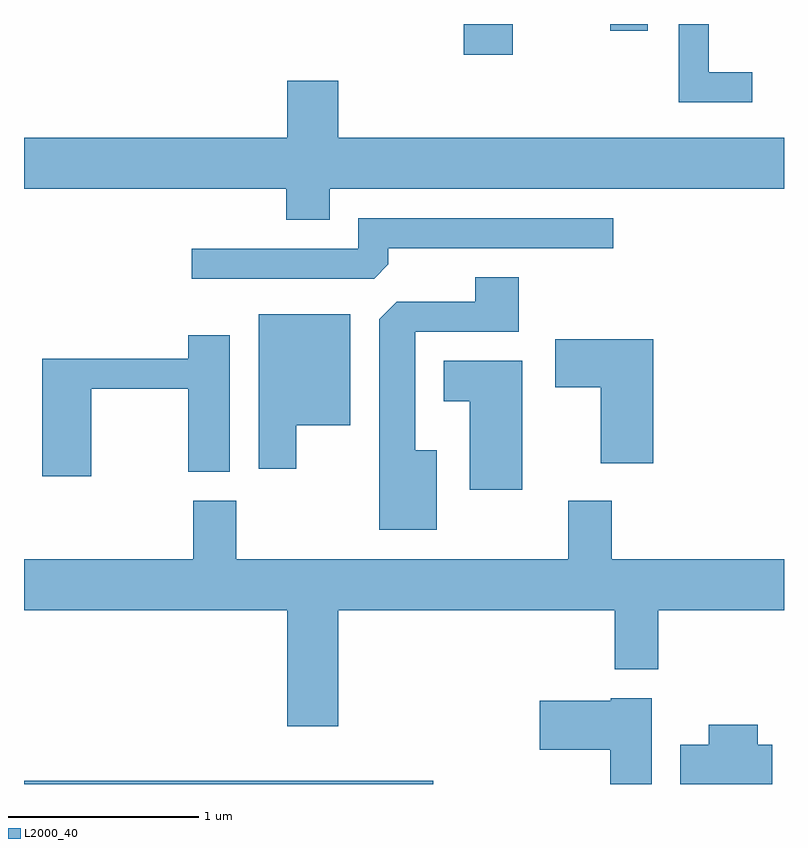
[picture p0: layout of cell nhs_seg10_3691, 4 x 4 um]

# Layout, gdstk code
import gdstk
lib = gdstk.Library(unit=1e-6, precision=1e-09)
def R(c, l, rs):  # rectangles x0, y0, x1, y1
    for r in rs: c.add(gdstk.rectangle(r[:2], r[2:], *l))
def P(c, l, *ps):  # polygons
    for p in ps: c.add(gdstk.Polygon(p, *l))
L2000_40 = (2000, 40)

nhs_seg10_3691 = lib.new_cell('nhs_seg10_3691')
R(nhs_seg10_3691, L2000_40, [(293.611,2148.522,295.764,2148.539), (295.926,2152.361,296.184,2152.522), (296.696,2152.486,296.894,2152.522)])
P(nhs_seg10_3691, L2000_40, [(297.443,2152.269),(297.214,2152.269),(297.214,2152.522),(297.056,2152.522),(297.056,2152.111),(297.443,2152.111)],
  [(295.219,2151.656),(297.611,2151.656),(297.611,2151.924),(295.264,2151.924),(295.264,2152.224),(294.996,2152.224),(294.996,2151.924),(293.611,2151.924),(293.611,2151.656),(294.991,2151.656),(294.991,2151.491),(295.219,2151.491)],
  [(295.529,2151.257),(295.529,2151.341),(296.713,2151.341),(296.713,2151.499),(295.371,2151.499),(295.371,2151.339),(294.493,2151.339),(294.493,2151.181),(295.454,2151.181)],
  [(295.784,2150.279),(295.669,2150.279),(295.669,2150.901),(296.214,2150.901),(296.214,2151.189),(295.986,2151.189),(295.986,2151.059),(295.572,2151.059),(295.481,2150.969),(295.481,2149.861),(295.784,2149.861)],
  [(295.044,2150.411),(295.329,2150.411),(295.329,2150.994),(294.846,2150.994),(294.846,2150.181),(295.044,2150.181)],
  [(293.964,2150.601),(294.476,2150.601),(294.476,2150.166),(294.694,2150.166),(294.694,2150.884),(294.476,2150.884),(294.476,2150.759),(293.706,2150.759),(293.706,2150.141),(293.964,2150.141)],
  [(296.924,2150.864),(296.406,2150.864),(296.406,2150.611),(296.646,2150.611),(296.646,2150.211),(296.924,2150.211)],
  [(296.234,2150.749),(295.821,2150.749),(295.821,2150.536),(295.956,2150.536),(295.956,2150.071),(296.234,2150.071)],
  [(295.264,2149.436),(296.721,2149.436),(296.721,2149.126),(296.949,2149.126),(296.949,2149.436),(297.611,2149.436),(297.611,2149.704),(296.704,2149.704),(296.704,2150.014),(296.476,2150.014),(296.476,2149.704),(294.729,2149.704),(294.729,2150.014),(294.501,2150.014),(294.501,2149.704),(293.611,2149.704),(293.611,2149.436),(294.996,2149.436),(294.996,2148.826),(295.264,2148.826)],
  [(296.914,2148.974),(296.7,2148.974),(296.7,2148.959),(296.326,2148.959),(296.326,2148.701),(296.696,2148.701),(296.696,2148.522),(296.914,2148.522)],
  [(297.549,2148.729),(297.474,2148.729),(297.474,2148.834),(297.216,2148.834),(297.216,2148.729),(297.066,2148.729),(297.066,2148.522),(297.549,2148.522)])

lib.write_gds('nhs_seg10_3691.gds')
